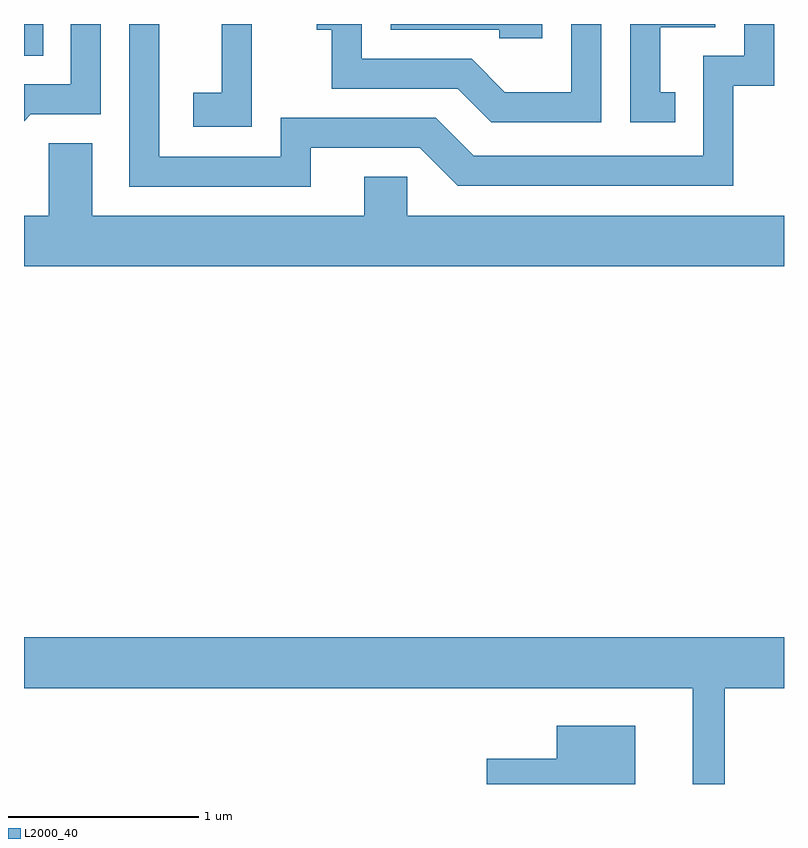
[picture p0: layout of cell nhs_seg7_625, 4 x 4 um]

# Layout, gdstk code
import gdstk
lib = gdstk.Library(unit=1e-6, precision=1e-09)
def R(c, l, rs):  # rectangles x0, y0, x1, y1
    for r in rs: c.add(gdstk.rectangle(r[:2], r[2:], *l))
def P(c, l, *ps):  # polygons
    for p in ps: c.add(gdstk.Polygon(p, *l))
L2000_40 = (2000, 40)

nhs_seg7_625 = lib.new_cell('nhs_seg7_625')
R(nhs_seg7_625, L2000_40, [(203.611,1722.086,203.713,1722.252)])
P(nhs_seg7_625, L2000_40, [(203.647,1721.776),(204.014,1721.776),(204.014,1722.252),(203.856,1722.252),(203.856,1721.934),(203.611,1721.934),(203.611,1721.74)],
  [(206.649,1722.252),(206.491,1722.252),(206.491,1721.894),(206.142,1721.894),(205.967,1722.069),(205.389,1722.069),(205.389,1722.252),(205.153,1722.252),(205.153,1722.221),(205.231,1722.221),(205.231,1721.911),(205.894,1721.911),(206.069,1721.736),(206.649,1721.736)],
  [(207.038,1721.894),(206.959,1721.894),(206.959,1722.236),(207.249,1722.236),(207.249,1722.252),(206.801,1722.252),(206.801,1721.736),(207.038,1721.736)],
  [(204.809,1722.252),(204.651,1722.252),(204.651,1721.889),(204.501,1721.889),(204.501,1721.711),(204.809,1721.711)],
  [(206.339,1722.252),(205.541,1722.252),(205.541,1722.221),(206.111,1722.221),(206.111,1722.176),(206.339,1722.176)],
  [(205.119,1721.601),(205.694,1721.601),(205.894,1721.401),(207.344,1721.401),(207.344,1721.926),(207.559,1721.926),(207.559,1722.252),(207.401,1722.252),(207.401,1722.084),(207.186,1722.084),(207.186,1721.559),(205.977,1721.559),(205.777,1721.759),(204.961,1721.759),(204.961,1721.554),(204.324,1721.554),(204.324,1722.252),(204.166,1722.252),(204.166,1721.396),(205.119,1721.396)],
  [(207.611,1721.244),(205.629,1721.244),(205.629,1721.449),(205.401,1721.449),(205.401,1721.244),(203.969,1721.244),(203.969,1721.624),(203.741,1721.624),(203.741,1721.244),(203.611,1721.244),(203.611,1720.976),(207.611,1720.976)],
  [(207.299,1718.756),(207.611,1718.756),(207.611,1719.024),(203.611,1719.024),(203.611,1718.756),(207.131,1718.756),(207.131,1718.252),(207.299,1718.252)],
  [(206.829,1718.559),(206.416,1718.559),(206.416,1718.384),(206.046,1718.384),(206.046,1718.252),(206.829,1718.252)])

lib.write_gds('nhs_seg7_625.gds')
